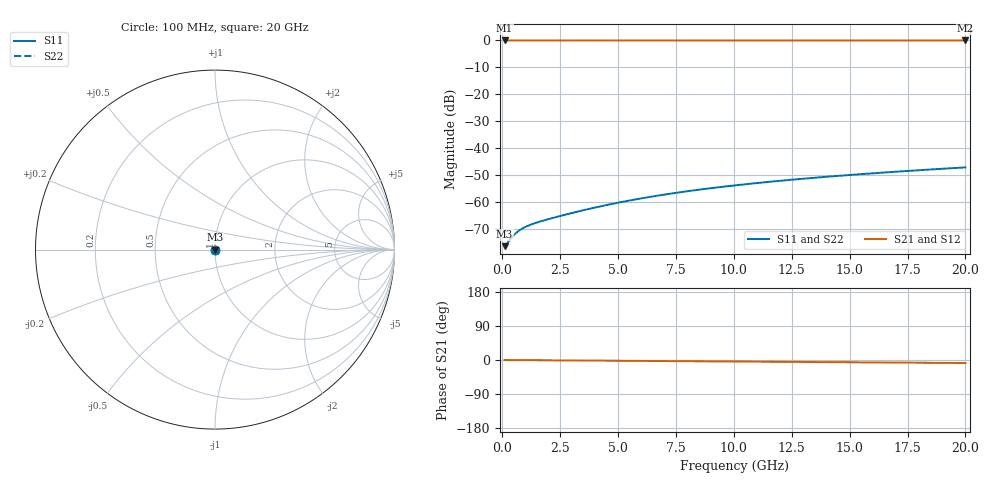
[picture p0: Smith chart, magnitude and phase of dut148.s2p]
! Touchstone file exported from HFSS 2026.1.0
!  File:  C:/ffzhzh/LocalFiles/Ansys_Project_Files/temp_train_TSV_148_1782990562_45328.aedt
!  Generated:  07:10:48 PM Jul  2, 2026
!  Design:  TSV
!  Project:  temp_train_TSV_148_1782990562_45328
! Variables:
!  h_bsmrdl = 2um
!  h_ox = 20um
!  h_rdl = 5um
!  h_sub = 81.87um
!  h_tmrdl = 5um
!  h_tsv = 81.87um
!  h_via = 3um
!  l_bsmrdl = 300um
!  l_sub = 418.36um
!  l_tmrdl = 200um
!  m_sub = 200um
!  pitch = 36.1um
!  r_tsv = 9.18um
!  s_tmrdl = 10um
!  w_bsmrdl = 18um
!  w_sub = 500um
!  w_tmrdl = 12um
!  x_tsv_center1 = 206um
!  x_tsv_center2 = 524um
!  x_tsv_center3 = 736um
!  x_tsv_center4 = 1054um
!  x_tsv_center5 = 1266um
!  x_tsv_center6 = 1584um
# GHz S MA R 50.000000
! Terminal data exported
! Port[1] = TSV1_1_T1
! Port[2] = TSV1_1_T2
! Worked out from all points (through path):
!   200 points, 100 MHz to 20 GHz, reference 50 ohm
!   highest |S21| = 0.00 dB at 100 MHz (marker M1); lowest = 0.0 dB at 20 GHz (marker M2)
!   group delay of S21, straight-line fit = 1.1 ps
!   lowest |S11| = -76.3 dB at 100 MHz (marker M3), VSWR 1.00, Z = 50 + j0.00258 ohm
!   |S11| at or under -10 dB: start of sweep to end of sweep
!   |S22| runs from -76.3 to -47.1 dB; largest |S21 - S12| = 2.4e-15
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0.1  0.0001529 9.7  0.9998 -0.0  0.9998 -0.0  0.0001529 9.7
! Gamma 0 0 0 0
! Port Impedance 50 0 50 0
0.2  0.0001706 16.6  0.9998 -0.1  0.9998 -0.1  0.0001706 16.6
0.4  0.0002205 20.7  0.9998 -0.2  0.9998 -0.2  0.0002205 20.7
0.5  0.0002462 19.7  0.9998 -0.2  0.9998 -0.2  0.0002462 19.7
0.6  0.0002703 17.8  0.9997 -0.3  0.9997 -0.3  0.0002703 17.8
0.8  0.0003126 12.6  0.9997 -0.3  0.9997 -0.3  0.0003126 12.6
1  0.0003481 7.1  0.9997 -0.4  0.9997 -0.4  0.0003481 7.1
1.3  0.0003933 -0.6  0.9996 -0.5  0.9996 -0.5  0.0003933 -0.6
1.8  0.0004601 -11.4  0.9995 -0.7  0.9995 -0.7  0.0004601 -11.4
2.6  0.0005697 -24.0  0.9995 -1.1  0.9995 -1.1  0.0005697 -24.0
3.5  0.0007094 -33.9  0.9994 -1.4  0.9994 -1.4  0.0007094 -33.9
4.3  0.0008481 -40.4  0.9993 -1.7  0.9993 -1.7  0.0008481 -40.4
5.1  0.000998 -45.6  0.9993 -2.1  0.9993 -2.1  0.000998 -45.6
5.9  0.001156 -49.9  0.9992 -2.4  0.9992 -2.4  0.001156 -49.9
6.8  0.001342 -53.9  0.9992 -2.7  0.9992 -2.7  0.001342 -53.9
8.4  0.001686 -59.6  0.9991 -3.4  0.9991 -3.4  0.001686 -59.6
10.1  0.002064 -64.2  0.999 -4.0  0.999 -4.0  0.002064 -64.2
11.7  0.002427 -67.7  0.9989 -4.7  0.9989 -4.7  0.002427 -67.7
13.4  0.00282 -70.8  0.9988 -5.3  0.9988 -5.3  0.00282 -70.7
15  0.003197 -73.2  0.9988 -6.0  0.9988 -6.0  0.003197 -73.1
16.7  0.003604 -75.3  0.9987 -6.7  0.9987 -6.7  0.003604 -75.3
20  0.004421 -78.8  0.9985 -8.0  0.9985 -8.0  0.004421 -78.8
